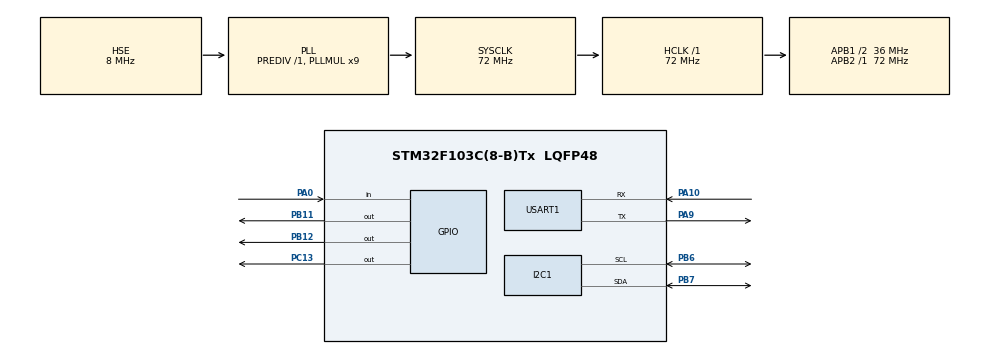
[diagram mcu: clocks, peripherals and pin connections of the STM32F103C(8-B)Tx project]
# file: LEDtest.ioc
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FREERTOS.Tasks01=defaultTask,0,128,StartDefaultTask,Default,NULL,Dynamic,NULL,NULL;ledtask,0,128,StartLedTask,Default,NULL,Dynamic,NULL,NULL
FREERTOS.configTOTAL_HEAP_SIZE=8192
Mcu.Family=STM32F1
Mcu.Name=STM32F103C(8-B)Tx
Mcu.Package=LQFP48
NVIC.PriorityGroup=NVIC_PRIORITYGROUP_4
NVIC.TIM4_IRQn=true\:15\:0\:false\:false\:true\:false\:false\:true\:true
NVIC.TimeBase=TIM4_IRQn
NVIC.TimeBaseIP=TIM4
PA0-WKUP.GPIO_PuPd=GPIO_PULLUP
PA0-WKUP.Signal=GPIO_Input
PA10.Mode=Asynchronous
PA10.Signal=USART1_RX
PA13.Mode=Serial_Wire
PA13.Signal=SYS_JTMS-SWDIO
PA14.Mode=Serial_Wire
PA14.Signal=SYS_JTCK-SWCLK
PA9.Mode=Asynchronous
PA9.Signal=USART1_TX
PB11.GPIO_ModeDefaultOutputPP=GPIO_MODE_OUTPUT_OD
PB11.GPIO_PuPd=GPIO_NOPULL
PB11.PinState=GPIO_PIN_SET
PB11.Signal=GPIO_Output
PB12.GPIO_ModeDefaultOutputPP=GPIO_MODE_OUTPUT_OD
PB12.GPIO_PuPd=GPIO_NOPULL
PB12.PinState=GPIO_PIN_SET
PB12.Signal=GPIO_Output
PB6.Mode=I2C
PB6.Signal=I2C1_SCL
PB7.Mode=I2C
PB7.Signal=I2C1_SDA
PC13-TAMPER-RTC.Signal=GPIO_Output
PD0-OSC_IN.Mode=HSE-External-Oscillator
PD0-OSC_IN.Signal=RCC_OSC_IN
PD1-OSC_OUT.Mode=HSE-External-Oscillator
PD1-OSC_OUT.Signal=RCC_OSC_OUT
ProjectManager.HeapSize=0x200
ProjectManager.StackSize=0x400
ProjectManager.TargetToolchain=MDK-ARM V5.32
RCC.AHBFreq_Value=72000000
RCC.APB1CLKDivider=RCC_HCLK_DIV2
RCC.APB1Freq_Value=36000000
RCC.APB1TimFreq_Value=72000000
RCC.APB2Freq_Value=72000000
RCC.APB2TimFreq_Value=72000000
RCC.HCLKFreq_Value=72000000
RCC.PLLMUL=RCC_PLL_MUL9
RCC.PLLSourceVirtual=RCC_PLLSOURCE_HSE
RCC.SYSCLKFreq_VALUE=72000000
RCC.SYSCLKSource=RCC_SYSCLKSOURCE_PLLCLK
RCC.USBFreq_Value=72000000
USART1.VirtualMode=VM_ASYNC
VP_FREERTOS_VS_CMSIS_V1.Mode=CMSIS_V1
VP_SYS_VS_tim4.Mode=TIM4
board=custom

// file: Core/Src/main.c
/* USER CODE BEGIN Header */
/**
  ******************************************************************************
  * @file           : main.c
  * @brief          : Main program body
  ******************************************************************************
  * @attention
  *
  * Copyright (c) 2026 STMicroelectronics.
  * All rights reserved.
  *
  * This software is licensed under terms that can be found in the LICENSE file
  * in the root directory of this software component.
  * If no LICENSE file comes with this software, it is provided AS-IS.
  *
  ******************************************************************************
  */
/* USER CODE END Header */
#include "main.h"
#include "cmsis_os.h"

/* USER CODE BEGIN Includes */
#include <stdio.h>
#include "FreeRTOS.h"
#include "task.h"
#include "oled.h"
#include "mpu6050.h"
#include "dht11.h"
#include "queue.h"
#include "alarm.h"
#include "fault_monitor.h"
/* USER CODE END Includes */

/* USER CODE BEGIN PTD */
typedef struct
{
    uint8_t temperature;
    uint8_t humidity;
    uint8_t valid;
} DHT_Message_t;
/* USER CODE END PTD */

/* USER CODE BEGIN PD */
//#define VIBRATION_THRESHOLD 3000
//#define ALARM_COUNT_LIMIT   3
//#define TEMP_HIGH_THRESHOLD    27
//#define HUM_HIGH_THRESHOLD     85

#define MPU_CALIBRATION_SAMPLE_COUNT    50
#define MPU_CALIBRATION_MAX_ATTEMPTS    100
#define MPU_CALIBRATION_INTERVAL_MS     20

#define DHT_FAULT_COUNT_LIMIT       3
#define DHT_RECOVER_COUNT_LIMIT     2

#define MPU_FAULT_COUNT_LIMIT       3
#define MPU_RECOVER_COUNT_LIMIT     2

#define KEY_GPIO_PORT        GPIOA
#define KEY_GPIO_PIN         GPIO_PIN_0
#define KEY_PRESSED_LEVEL    GPIO_PIN_RESET
/* USER CODE END PD */

I2C_HandleTypeDef hi2c1;

UART_HandleTypeDef huart1;

osThreadId defaultTaskHandle;
osThreadId ledtaskHandle;
/* USER CODE BEGIN PV */
volatile uint32_t led_count = 0;

static QueueHandle_t g_dht_queue = NULL;

static QueueHandle_t g_key_queue = NULL;
//volatile uint8_t g_dht_temperature = 0;
//volatile uint8_t g_dht_humidity = 0;
//volatile uint8_t g_dht_valid = 0;
/* USER CODE END PV */

void SystemClock_Config(void);
static void MX_GPIO_Init(void);
static void MX_USART1_UART_Init(void);
static void MX_I2C1_Init(void);
void StartDefaultTask(void const * argument);
void StartLedTask(void const * argument);

/* USER CODE BEGIN PFP */
void LedTask(void *argument);
void PrintTask(void *argument);
void I2CScanTask(void *argument);
void OledTask(void *argument);
void MpuTask(void *argument);
static int32_t Abs32(int32_t x);
static void Buzzer_On(void);
static void Buzzer_Off(void);
void DhtTask(void *argument);

void KeyTask(void *argument);

static uint8_t MPU6050_Calibrate(int32_t *base_ax,
                                 int32_t *base_ay,
                                 int32_t *base_az);
/* USER CODE END PFP */

int main(void)
{

  /* MCU Configuration--------------------------------------------------------*/

  /* Reset of all peripherals, Initializes the Flash interface and the Systick. */
  HAL_Init();

  /* Configure the system clock */
  SystemClock_Config();

  /* Initialize all configured peripherals */
  MX_GPIO_Init();
  MX_USART1_UART_Init();
  MX_I2C1_Init();
  /* USER CODE BEGIN 2 */
	BaseType_t ret_led;
	BaseType_t ret_print;
	BaseType_t ret_mpu;
	BaseType_t ret_dht;
	BaseType_t ret_key;

	g_dht_queue = xQueueCreate(1, sizeof(DHT_Message_t));

	if (g_dht_queue == NULL)
	{
			printf("Create DHT queue failed!\r\n");
			Error_Handler();
	}

	g_key_queue = xQueueCreate(1, sizeof(uint8_t));

	if (g_key_queue == NULL)
	{
			printf("Create key queue failed!\r\n");
			Error_Handler();
	}

	printf("Before create tasks\r\n");

	ret_led=xTaskCreate(LedTask,
            "LedTask",
            128,
            NULL,
            tskIDLE_PRIORITY + 1,
            NULL);

//	ret_print=xTaskCreate(PrintTask,
//            "PrintTask",
//            256,
//            NULL,
//            tskIDLE_PRIORITY + 1,
//            NULL);

//xTaskCreate(I2CScanTask,
//            "I2CScanTask",
//            256,
//            NULL,
//            tskIDLE_PRIORITY + 1,
//            NULL);

//xTaskCreate(OledTask,
//            "OledTask",
//            256,
//            NULL,
//            tskIDLE_PRIORITY + 1,
//            NULL);

	ret_mpu=xTaskCreate(MpuTask,
            "MpuTask",
            512,
            NULL,
            tskIDLE_PRIORITY + 1,
            NULL);

	ret_dht = xTaskCreate(DhtTask,
                      "DhtTask",
                      256,
                      NULL,
                      tskIDLE_PRIORITY + 1,
                      NULL);

	ret_key = xTaskCreate(KeyTask,
                      "KeyTask",
                      128,
                      NULL,
                      tskIDLE_PRIORITY + 1,
                      NULL);

	printf("create ret: led=%d mpu=%d dht=%d key=%d\r\n",
       ret_led,
       ret_mpu,
       ret_dht,
       ret_key);

//	printf("create ret: led=%d print=%d mpu=%d\r\n",ret_led, ret_print, ret_mpu);

	vTaskStartScheduler();

	printf("Scheduler start failed!\r\n");

  /* USER CODE END 2 */

  /* Create the thread(s) */
  /* definition and creation of defaultTask */
  osThreadDef(defaultTask, StartDefaultTask, osPriorityNormal, 0, 128);
  defaultTaskHandle = osThreadCreate(osThread(defaultTask), NULL);

  /* definition and creation of ledtask */
  osThreadDef(ledtask, StartLedTask, osPriorityNormal, 0, 128);
  ledtaskHandle = osThreadCreate(osThread(ledtask), NULL);

  /* Start scheduler */
  osKernelStart();

  /* We should never get here as control is now taken by the scheduler */

  /* Infinite loop */
  while (1)
  {

  }
}

void SystemClock_Config(void)
{
  RCC_OscInitTypeDef RCC_OscInitStruct = {0};
  RCC_ClkInitTypeDef RCC_ClkInitStruct = {0};

  /** Initializes the RCC Oscillators according to the specified parameters
  * in the RCC_OscInitTypeDef structure.
  */
  RCC_OscInitStruct.OscillatorType = RCC_OSCILLATORTYPE_HSE;
  RCC_OscInitStruct.HSEState = RCC_HSE_ON;
  RCC_OscInitStruct.HSEPredivValue = RCC_HSE_PREDIV_DIV1;
  RCC_OscInitStruct.HSIState = RCC_HSI_ON;
  RCC_OscInitStruct.PLL.PLLState = RCC_PLL_ON;
  RCC_OscInitStruct.PLL.PLLSource = RCC_PLLSOURCE_HSE;
  RCC_OscInitStruct.PLL.PLLMUL = RCC_PLL_MUL9;
  if (HAL_RCC_OscConfig(&RCC_OscInitStruct) != HAL_OK)
  {
    Error_Handler();
  }

  /** Initializes the CPU, AHB and APB buses clocks
  */
  RCC_ClkInitStruct.ClockType = RCC_CLOCKTYPE_HCLK|RCC_CLOCKTYPE_SYSCLK
                              |RCC_CLOCKTYPE_PCLK1|RCC_CLOCKTYPE_PCLK2;
  RCC_ClkInitStruct.SYSCLKSource = RCC_SYSCLKSOURCE_PLLCLK;
  RCC_ClkInitStruct.AHBCLKDivider = RCC_SYSCLK_DIV1;
  RCC_ClkInitStruct.APB1CLKDivider = RCC_HCLK_DIV2;
  RCC_ClkInitStruct.APB2CLKDivider = RCC_HCLK_DIV1;

  if (HAL_RCC_ClockConfig(&RCC_ClkInitStruct, FLASH_LATENCY_2) != HAL_OK)
  {
    Error_Handler();
  }
}

static void MX_I2C1_Init(void)
{

  hi2c1.Instance = I2C1;
  hi2c1.Init.ClockSpeed = 100000;
  hi2c1.Init.DutyCycle = I2C_DUTYCYCLE_2;
  hi2c1.Init.OwnAddress1 = 0;
  hi2c1.Init.AddressingMode = I2C_ADDRESSINGMODE_7BIT;
  hi2c1.Init.DualAddressMode = I2C_DUALADDRESS_DISABLE;
  hi2c1.Init.OwnAddress2 = 0;
  hi2c1.Init.GeneralCallMode = I2C_GENERALCALL_DISABLE;
  hi2c1.Init.NoStretchMode = I2C_NOSTRETCH_DISABLE;
  if (HAL_I2C_Init(&hi2c1) != HAL_OK)
  {
    Error_Handler();
  }

}

static void MX_USART1_UART_Init(void)
{

  huart1.Instance = USART1;
  huart1.Init.BaudRate = 115200;
  huart1.Init.WordLength = UART_WORDLENGTH_8B;
  huart1.Init.StopBits = UART_STOPBITS_1;
  huart1.Init.Parity = UART_PARITY_NONE;
  huart1.Init.Mode = UART_MODE_TX_RX;
  huart1.Init.HwFlowCtl = UART_HWCONTROL_NONE;
  huart1.Init.OverSampling = UART_OVERSAMPLING_16;
  if (HAL_UART_Init(&huart1) != HAL_OK)
  {
    Error_Handler();
  }

}

static void MX_GPIO_Init(void)
{
  GPIO_InitTypeDef GPIO_InitStruct = {0};

  /* GPIO Ports Clock Enable */
  __HAL_RCC_GPIOC_CLK_ENABLE();
  __HAL_RCC_GPIOD_CLK_ENABLE();
  __HAL_RCC_GPIOA_CLK_ENABLE();
  __HAL_RCC_GPIOB_CLK_ENABLE();

  /*Configure GPIO pin Output Level */
  HAL_GPIO_WritePin(GPIOC, GPIO_PIN_13, GPIO_PIN_RESET);

  /*Configure GPIO pin Output Level */
  HAL_GPIO_WritePin(GPIOB, GPIO_PIN_11|GPIO_PIN_12, GPIO_PIN_SET);

  /*Configure GPIO pin : PC13 */
  GPIO_InitStruct.Pin = GPIO_PIN_13;
  GPIO_InitStruct.Mode = GPIO_MODE_OUTPUT_PP;
  GPIO_InitStruct.Pull = GPIO_NOPULL;
  GPIO_InitStruct.Speed = GPIO_SPEED_FREQ_LOW;
  HAL_GPIO_Init(GPIOC, &GPIO_InitStruct);

  /*Configure GPIO pin : PA0 */
  GPIO_InitStruct.Pin = GPIO_PIN_0;
  GPIO_InitStruct.Mode = GPIO_MODE_INPUT;
  GPIO_InitStruct.Pull = GPIO_PULLUP;
  HAL_GPIO_Init(GPIOA, &GPIO_InitStruct);

  /*Configure GPIO pins : PB11 PB12 */
  GPIO_InitStruct.Pin = GPIO_PIN_11|GPIO_PIN_12;
  GPIO_InitStruct.Mode = GPIO_MODE_OUTPUT_OD;
  GPIO_InitStruct.Pull = GPIO_NOPULL;
  GPIO_InitStruct.Speed = GPIO_SPEED_FREQ_LOW;
  HAL_GPIO_Init(GPIOB, &GPIO_InitStruct);

}

/* USER CODE BEGIN 4 */
int fputc(int ch, FILE *f)
{
    HAL_UART_Transmit(&huart1, (uint8_t *)&ch, 1, HAL_MAX_DELAY);
    return ch;
}

void LedTask(void *argument)
{
    while (1)
    {
        HAL_GPIO_TogglePin(GPIOC, GPIO_PIN_13);
        led_count++;
        vTaskDelay(pdMS_TO_TICKS(500));
    }
}

void PrintTask(void *argument)
{
    while (1)
    {
        printf("FreeRTOS running, led_count = %lu\r\n", led_count);
        vTaskDelay(pdMS_TO_TICKS(1000));
    }
}

void I2CScanTask(void *argument)
{
    HAL_StatusTypeDef result;
    uint8_t found;

    while (1)
    {
        found = 0;
        printf("\r\n========== I2C Scan Start ==========\r\n");

        for (uint8_t addr = 1; addr < 127; addr++)
        {
            result = HAL_I2C_IsDeviceReady(&hi2c1, addr << 1, 2, 10);

            if (result == HAL_OK)
            {
                printf("I2C device found: 7bit addr = 0x%02X, HAL addr = 0x%02X\r\n",
                       addr, addr << 1);
                found++;
            }

            vTaskDelay(pdMS_TO_TICKS(1));
        }

        if (found == 0)
        {
            printf("No I2C device found!\r\n");
        }

        printf("========== I2C Scan End, found = %d ==========\r\n", found);

        vTaskDelay(pdMS_TO_TICKS(3000));
    }
}

void OledTask(void *argument)
{
    int count = 0;

    OLED_Init();
    OLED_Clear();

    OLED_ShowString(0, 0, "OLED OK");
    OLED_ShowString(2, 0, "CNT:");

    printf("OLED show string ok\r\n");

    while (1)
    {
        OLED_ShowString(2, 30, "      ");
        OLED_ShowNum(2, 30, count);

        count++;

        vTaskDelay(pdMS_TO_TICKS(1000));
    }
}

static int32_t Abs32(int32_t x)
{
    if (x < 0)
    {
        return -x;
    }
    else
    {
        return x;
    }
}

void MpuTask(void *argument)
{
    /*
     * MPU6050 当前一次读取的数据。
     * 初始化为0，避免读取失败时出现未初始化数据。
     */
    MPU6050_Data_t mpu_data = {0};

    uint8_t id;
    uint8_t ret;

    /*
     * 按键消音相关变量。
     */
    uint8_t key_event = 0;
    uint8_t alarm_mute_flag = 0;

    /*
     * 报警管理器。
     * 振动、温度、湿度和系统总报警状态
     * 全部保存在这个结构体中。
     */
    AlarmManager_t alarm_manager;

    FaultMonitor_t dht_fault_monitor;
		FaultMonitor_t mpu_fault_monitor;

    /*
     * 本轮MPU6050是否读取成功。
     *
     * 1：本轮读取成功
     * 0：本轮读取失败
     */
    uint8_t mpu_read_ok = 0;

    /*
     * MPU6050静止时的三轴基准值。
     */
    int32_t base_ax = 0;
    int32_t base_ay = 0;
    int32_t base_az = 0;

		uint8_t calibration_ok = 0;
		uint8_t mpu_effective_fault = 0;

    /*
     * DHT11队列消息。
     *
     * dht_message：
     * 保存当前正在使用的最新温湿度消息。
     *
     * new_message：
     * 临时接收队列中新到达的消息。
     */
    DHT_Message_t dht_message = {0};
    DHT_Message_t new_message;

    /*
     * 当前循环使用的温湿度快照。
     */
    uint8_t temperature = 0;
    uint8_t humidity = 0;
    uint8_t dht_valid = 0;

    /*
     * 当前振动强度。
     */
    int32_t vibration = 0;

    /*
     * 初始化报警管理器内部的计数器和报警状态。
     */
    Alarm_Init(&alarm_manager);

		FaultMonitor_Init(&dht_fault_monitor);
		FaultMonitor_Init(&mpu_fault_monitor);

    printf("MpuTask start\r\n");

    /*
     * 初始化OLED。
     */
    OLED_Init();
    OLED_Clear();

    OLED_ShowString(0, 0, "MPU6050 TEST");

    /*
     * 初始化MPU6050，并读取设备ID。
     */
    ret = MPU6050_Init();
    id = MPU6050_ReadID();

    OLED_ShowString(2, 0, "ID:");
    OLED_ShowNum(2, 24, id);

    if (ret == 0)
    {
        OLED_ShowString(4, 0, "MPU OK");
        printf("MPU6050 init ok, id = 0x%02X\r\n", id);
    }
    else
    {
        OLED_ShowString(4, 0, "MPU ERR");
        printf("MPU6050 init error, id = 0x%02X\r\n", id);
    }

    vTaskDelay(pdMS_TO_TICKS(1000));

    /*
     * MPU6050静态基准校准。
     */
    OLED_Clear();
		OLED_ShowString(0, 0, "CAL...");
		printf("MPU6050 calibrating...\r\n");

		/*
		 * 尝试完成首次校准。
		 */
		if (MPU6050_Calibrate(&base_ax,
                       &base_ay,
                       &base_az) == 0)
		{
				calibration_ok = 1;
				vibration = 0;

				/*
				 * 已经连续成功取得50个校准样本，
				 * 说明MPU通信已经恢复。
				 * 重新初始化故障监视器。
				 */
				FaultMonitor_Init(&mpu_fault_monitor);

				printf("MPU recalibration success, "
							 "BASE: AX=%ld, AY=%ld, AZ=%ld\r\n",
							 (long)base_ax,
							 (long)base_ay,
							 (long)base_az);
		}
		else
		{
				calibration_ok = 0;

				OLED_Clear();
				OLED_ShowString(0, 0, "CAL ERR");

				printf("MPU calibration error\r\n");

				vTaskDelay(pdMS_TO_TICKS(1000));
		}

    /*
     * OLED固定标题。
     */
    OLED_Clear();

    OLED_ShowString(0, 0, "T:");
    OLED_ShowString(2, 0, "H:");
    OLED_ShowString(4, 0, "S:");

    while (1)
    {
        /*
         * ==================================================
         * 第1部分：接收DHT11任务发送的新消息
         * ==================================================
         */
        if (xQueueReceive(g_dht_queue,
                          &new_message,
                          0) == pdPASS)
        {
            /*
             * 保存最新消息。
             */
            dht_message = new_message;

            FaultMonitor_Update(&dht_fault_monitor,
                        new_message.valid,
                        DHT_FAULT_COUNT_LIMIT,
                        DHT_RECOVER_COUNT_LIMIT);

        }

        /*
         * 把当前DHT消息复制到本轮使用的局部变量。
         */
        temperature = dht_message.temperature;
        humidity = dht_message.humidity;
        dht_valid = dht_message.valid;

        /*
         * ==================================================
         * 第2部分：读取MPU6050并更新故障状态
         * ==================================================
         */

        /*
         * 每轮开始时，先假设本轮读取失败。
         */
        mpu_read_ok = 0;

				/*
				 * 校准尚未成功时，周期性重新尝试校准。
				 */
				if (calibration_ok == 0)
				{
						OLED_ShowString(4, 0, "CAL...");

						if (MPU6050_Calibrate(&base_ax,
																	 &base_ay,
																	 &base_az) == 0)
						{
								calibration_ok = 1;

								/*
								 * 校准成功后清除旧振动值。
								 */
								vibration = 0;

								printf("MPU recalibration success, "
											 "BASE: AX=%ld, AY=%ld, AZ=%ld\r\n",
											 (long)base_ax,
											 (long)base_ay,
											 (long)base_az);
						}
				}
				else
				{
						/*
						 * 校准成功后，才进行正常的MPU数据读取。
						 */
						if (MPU6050_ReadAccel(&mpu_data) == 0)
						{
								mpu_read_ok = 1;

								vibration =
										Abs32((int32_t)mpu_data.ax - base_ax)
									+ Abs32((int32_t)mpu_data.ay - base_ay)
									+ Abs32((int32_t)mpu_data.az - base_az);
						}

						/*
						 * 每次实际读取MPU后，更新通信故障状态。
						 */
						FaultMonitor_Update(&mpu_fault_monitor,
																mpu_read_ok,
																MPU_FAULT_COUNT_LIMIT,
																MPU_RECOVER_COUNT_LIMIT);

						/*
						 * MPU已经确认通信故障时，
						 * 原来的静止基准不再认为可靠。
						 */
						if (mpu_fault_monitor.fault_flag == 1)
						{
								calibration_ok = 0;
								vibration = 0;
						}
				}

        /*
         * ==================================================
         * 第3部分：统一更新所有报警状态
         * ==================================================
         *
         * 到这里时，下面的数据已经全部准备完成：
         *
         * vibration
         * temperature
         * humidity
         * dht_valid
         * dht_fault_monitor.fault_flag
         * mpu_fault_monitor.fault_flag
         *
         * Alarm_Update()内部负责：
         *
         * 1. 振动连续计数和滞回
         * 2. 温度滞回
         * 3. 湿度滞回
         * 4. 传感器故障参与系统报警
         * 5. 生成系统总报警
         */

				if ((calibration_ok == 0) ||
							(mpu_fault_monitor.fault_flag == 1))
				{
						mpu_effective_fault = 1;
				}
				else
				{
						mpu_effective_fault = 0;
				}

        Alarm_Update(&alarm_manager,
             vibration,
             temperature,
             humidity,
             dht_valid,
             mpu_read_ok,
             dht_fault_monitor.fault_flag,
             mpu_effective_fault);

        /*
         * ==================================================
         * 第4部分：处理按键消音事件
         * ==================================================
         */
        if (xQueueReceive(g_key_queue,
                          &key_event,
                          0) == pdPASS)
        {
            /*
             * 只有系统正在报警时，
             * 按键才设置消音标志。
             */
            if (alarm_manager.state.system_alarm == 1)
            {
                alarm_mute_flag = 1;
            }
        }

        /*
         * 所有异常恢复后，自动清除消音状态。
         * 保证下一次新报警仍然能够响铃。
         */
        if (alarm_manager.state.system_alarm == 0)
        {
            alarm_mute_flag = 0;
        }

        /*
         * ==================================================
         * 第5部分：控制蜂鸣器
         * ==================================================
         *
         * 蜂鸣器响必须同时满足：
         *
         * 1. 系统存在报警
         * 2. 当前没有被人工消音
         */
        if ((alarm_manager.state.system_alarm == 1) &&
            (alarm_mute_flag == 0))
        {
            Buzzer_On();
        }
        else
        {
            Buzzer_Off();
        }

        /*
         * ==================================================
         * 第6部分：刷新OLED
         * ==================================================
         */

        /*
         * 清除上一次显示的数值。
         */
        OLED_ShowString(0, 12, "        ");
        OLED_ShowString(2, 12, "        ");
        OLED_ShowString(4, 12, "        ");
        OLED_ShowString(6, 0,  "          ");

        /*
         * DHT11当前数据有效，并且没有确认故障时，
         * 才显示温湿度。
         */
        if ((dht_valid == 1) &&
            (dht_fault_monitor.fault_flag == 0))
        {
            OLED_ShowNum(0, 12, temperature);
            OLED_ShowString(0, 30, "C");

            OLED_ShowNum(2, 12, humidity);
        }
        else
        {
            OLED_ShowString(0, 12, "--");
            OLED_ShowString(2, 12, "--");
        }

        /*
         * 本轮MPU6050读取成功，并且没有确认故障时，
         * 才显示振动强度。
         */
        if ((calibration_ok == 1) &&
						(mpu_read_ok == 1) &&
						(mpu_fault_monitor.fault_flag == 0))
				{
						OLED_ShowNum(4, 12, vibration);
				}
				else
				{
						OLED_ShowString(4, 12, "--");
				}

        /*
         * OLED显示的是系统真实报警状态。
         * 即使按键已经消音，仍然显示ALARM。
         */
        if (alarm_manager.state.system_alarm == 1)
        {
            OLED_ShowString(6, 0, "ALARM");
        }
        else
        {
            OLED_ShowString(6, 0, "OK");
        }

        /*
         * ==================================================
         * 第7部分：串口输出完整状态
         * ==================================================
         */
        printf("T=%d C, H=%d %%, DHT_V=%d, "
							 "AX=%d, AY=%d, AZ=%d, S=%ld, "
							 "CAL=%d, MPU_OK=%d, "
							 "V_ALM=%d, T_ALM=%d, H_ALM=%d, "
							 "DHT_F=%d, MPU_F=%d, SYS=%d, MUTE=%d\r\n",
							 temperature,
							 humidity,
							 dht_valid,
							 mpu_data.ax,
							 mpu_data.ay,
							 mpu_data.az,
							 (long)vibration,
							 calibration_ok,
							 mpu_read_ok,
							 alarm_manager.state.vibration_alarm,
							 alarm_manager.state.temperature_alarm,
							 alarm_manager.state.humidity_alarm,
							 dht_fault_monitor.fault_flag,
							 mpu_effective_fault,
							 alarm_manager.state.system_alarm,
							 alarm_mute_flag);

        /*
         * MpuTask每300ms运行一轮。
         */
        vTaskDelay(pdMS_TO_TICKS(300));
    }
}

static void Buzzer_On(void)
{
    HAL_GPIO_WritePin(GPIOB, GPIO_PIN_12, GPIO_PIN_RESET);
}

static void Buzzer_Off(void)
{
    HAL_GPIO_WritePin(GPIOB, GPIO_PIN_12, GPIO_PIN_SET);
}

void DhtTask(void *argument)
{
    DHT11_Data_t dht_data;
		DHT_Message_t message;
    uint8_t ret;

    DHT11_Init();

		message.temperature = 0;
    message.humidity = 0;
    message.valid = 0;

    vTaskDelay(pdMS_TO_TICKS(2000));

    while (1)
    {
        ret = DHT11_Read(&dht_data);

        if (ret == DHT11_OK)
        {
            message.temperature = dht_data.temperature;
            message.humidity = dht_data.humidity;
            message.valid = 1;
        }
        else
        {
            message.valid = 0;
        }

        xQueueOverwrite(g_dht_queue, &message);

        vTaskDelay(pdMS_TO_TICKS(2000));
    }
}

void KeyTask(void *argument)
{
    uint8_t key_event = 1;

    while (1)
    {
        if (HAL_GPIO_ReadPin(KEY_GPIO_PORT,
                             KEY_GPIO_PIN) ==
            KEY_PRESSED_LEVEL)
        {
            /*
             * 延时20ms消除机械按键抖动。
             */
            vTaskDelay(pdMS_TO_TICKS(20));

            if (HAL_GPIO_ReadPin(KEY_GPIO_PORT,
                                 KEY_GPIO_PIN) ==
                KEY_PRESSED_LEVEL)
            {
                /*
                 * 确认按键按下，发送按键事件。
                 * 队列长度为1，始终保留最新事件。
                 */
                xQueueOverwrite(g_key_queue, &key_event);

                /*
                 * 等待按键释放，避免一次长按
                 * 被识别成多次按下。
                 */
                while (HAL_GPIO_ReadPin(KEY_GPIO_PORT,
                                        KEY_GPIO_PIN) ==
                       KEY_PRESSED_LEVEL)
                {
                    vTaskDelay(pdMS_TO_TICKS(10));
                }
            }
        }

        vTaskDelay(pdMS_TO_TICKS(10));
    }
}

static uint8_t MPU6050_Calibrate(int32_t *base_ax,
                                 int32_t *base_ay,
                                 int32_t *base_az)
{
    MPU6050_Data_t data;

    int32_t sum_ax = 0;
    int32_t sum_ay = 0;
    int32_t sum_az = 0;

    uint16_t success_count = 0;
    uint16_t attempt_count = 0;

    /*
     * 必须获得规定数量的成功样本，
     * 同时限制最大尝试次数，避免永久卡住。
     */
    while ((success_count < MPU_CALIBRATION_SAMPLE_COUNT) &&
           (attempt_count < MPU_CALIBRATION_MAX_ATTEMPTS))
    {
        attempt_count++;

        if (MPU6050_ReadAccel(&data) == 0)
        {
            sum_ax += data.ax;
            sum_ay += data.ay;
            sum_az += data.az;

            success_count++;
        }

        vTaskDelay(
            pdMS_TO_TICKS(MPU_CALIBRATION_INTERVAL_MS));
    }

    /*
     * 没能收集到足够的成功数据，校准失败。
     */
    if (success_count < MPU_CALIBRATION_SAMPLE_COUNT)
    {
        printf("MPU calibration failed, success=%u, attempts=%u\r\n",
               success_count,
               attempt_count);

        return 1;
    }

    /*
     * 使用实际成功样本数量计算平均值。
     */
    *base_ax = sum_ax / (int32_t)success_count;
    *base_ay = sum_ay / (int32_t)success_count;
    *base_az = sum_az / (int32_t)success_count;

    printf("MPU calibration success, samples=%u\r\n",
           success_count);

    return 0;
}

/* USER CODE END 4 */

void StartDefaultTask(void const * argument)
{
  for(;;)
  {
    osDelay(1);
  }
}

void StartLedTask(void const * argument)
{
  for(;;)
  {
    osDelay(1);
  }
}

void HAL_TIM_PeriodElapsedCallback(TIM_HandleTypeDef *htim)
{
  if (htim->Instance == TIM4) {
    HAL_IncTick();
  }
}

void Error_Handler(void)
{
  __disable_irq();
  while (1)
  {
  }
}
